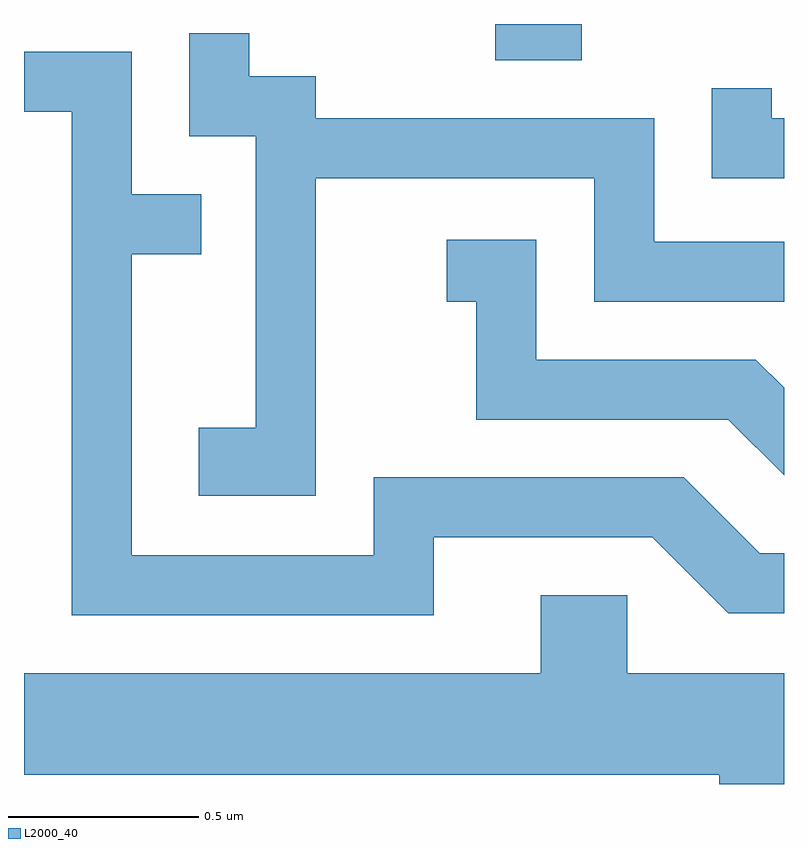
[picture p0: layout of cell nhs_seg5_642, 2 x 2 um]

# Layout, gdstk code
import gdstk
lib = gdstk.Library(unit=1e-6, precision=1e-09)
def R(c, l, rs):  # rectangles x0, y0, x1, y1
    for r in rs: c.add(gdstk.rectangle(r[:2], r[2:], *l))
def P(c, l, *ps):  # polygons
    for p in ps: c.add(gdstk.Polygon(p, *l))
L2000_40 = (2000, 40)

nhs_seg5_642 = lib.new_cell('nhs_seg5_642')
R(nhs_seg5_642, L2000_40, [(190.851,1491.976,191.079,1492.072)])
P(nhs_seg5_642, L2000_40, [(190.379,1491.666),(191.111,1491.666),(191.111,1491.341),(191.611,1491.341),(191.611,1491.499),(191.269,1491.499),(191.269,1491.824),(190.379,1491.824),(190.379,1491.934),(190.204,1491.934),(190.204,1492.048),(190.046,1492.048),(190.046,1491.776),(190.221,1491.776),(190.221,1491.009),(190.071,1491.009),(190.071,1490.831),(190.379,1490.831)],
  [(190.689,1490.721),(191.264,1490.721),(191.464,1490.521),(191.611,1490.521),(191.611,1490.679),(191.547,1490.679),(191.347,1490.879),(190.531,1490.879),(190.531,1490.674),(189.894,1490.674),(189.894,1491.466),(190.078,1491.466),(190.078,1491.624),(189.894,1491.624),(189.894,1491.999),(189.611,1491.999),(189.611,1491.841),(189.736,1491.841),(189.736,1490.516),(190.689,1490.516)],
  [(191.611,1491.824),(191.579,1491.824),(191.579,1491.903),(191.421,1491.903),(191.421,1491.666),(191.611,1491.666)],
  [(191.611,1491.115),(191.537,1491.189),(190.959,1491.189),(190.959,1491.504),(190.723,1491.504),(190.723,1491.341),(190.801,1491.341),(190.801,1491.031),(191.464,1491.031),(191.611,1490.884)],
  [(191.611,1490.364),(191.199,1490.364),(191.199,1490.569),(190.971,1490.569),(190.971,1490.364),(189.611,1490.364),(189.611,1490.096),(191.441,1490.096),(191.441,1490.072),(191.611,1490.072)])

lib.write_gds('nhs_seg5_642.gds')
